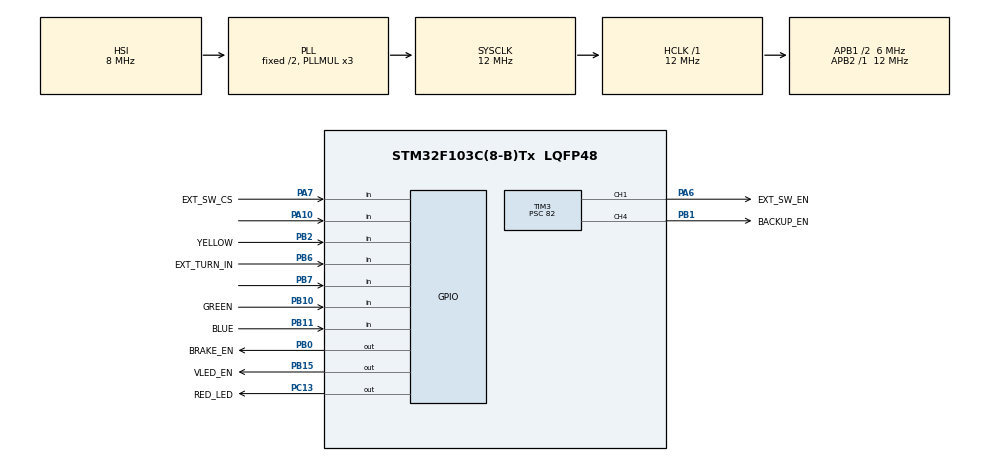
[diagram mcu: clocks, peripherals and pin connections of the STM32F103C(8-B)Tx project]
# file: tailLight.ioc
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Mcu.Family=STM32F1
Mcu.Name=STM32F103C(8-B)Tx
Mcu.Package=LQFP48
NVIC.PriorityGroup=NVIC_PRIORITYGROUP_4
PA10.Signal=GPIO_Input
PA13.Mode=Trace_Asynchronous_SW
PA13.Signal=SYS_JTMS-SWDIO
PA14.Mode=Trace_Asynchronous_SW
PA14.Signal=SYS_JTCK-SWCLK
PA6.GPIO_Label=EXT_SW_EN
PA6.Signal=S_TIM3_CH1
PA7.GPIO_Label=EXT_SW_CS
PA7.Signal=GPIO_Input
PB0.GPIO_Label=BRAKE_EN
PB0.Signal=GPIO_Output
PB1.GPIO_Label=BACKUP_EN
PB1.Signal=S_TIM3_CH4
PB10.GPIO_Label=GREEN
PB10.GPIO_PuPd=GPIO_PULLDOWN
PB10.Signal=GPIO_Input
PB11.GPIO_Label=BLUE
PB11.GPIO_PuPd=GPIO_PULLDOWN
PB11.Signal=GPIO_Input
PB15.GPIO_Label=VLED_EN
PB15.Signal=GPIO_Output
PB2.GPIO_Label=YELLOW
PB2.GPIO_PuPd=GPIO_PULLDOWN
PB2.Signal=GPIO_Input
PB3.Mode=Trace_Asynchronous_SW
PB3.Signal=SYS_JTDO-TRACESWO
PB6.GPIO_Label=EXT_TURN_IN
PB6.Signal=GPIO_Input
PB7.Signal=GPIO_Input
PC13-TAMPER-RTC.GPIO_Label=RED_LED
PC13-TAMPER-RTC.GPIO_ModeDefaultOutputPP=GPIO_MODE_OUTPUT_OD
PC13-TAMPER-RTC.GPIO_PuPd=GPIO_NOPULL
PC13-TAMPER-RTC.Signal=GPIO_Output
ProjectManager.HeapSize=0x200
ProjectManager.StackSize=0x400
ProjectManager.TargetToolchain=STM32CubeIDE
RCC.AHBFreq_Value=12000000
RCC.APB1CLKDivider=RCC_HCLK_DIV2
RCC.APB1Freq_Value=6000000
RCC.APB1TimFreq_Value=12000000
RCC.APB2Freq_Value=12000000
RCC.APB2TimFreq_Value=12000000
RCC.HCLKFreq_Value=12000000
RCC.HSE_VALUE=16000000
RCC.PLLMUL=RCC_PLL_MUL3
RCC.SYSCLKFreq_VALUE=12000000
RCC.SYSCLKSource=RCC_SYSCLKSOURCE_PLLCLK
RCC.USBFreq_Value=12000000
SH.S_TIM3_CH1.0=TIM3_CH1,PWM Generation1 CH1
SH.S_TIM3_CH4.0=TIM3_CH4,PWM Generation4 CH4
TIM3.Channel-PWM\ Generation1\ CH1=TIM_CHANNEL_1
TIM3.Channel-PWM\ Generation4\ CH4=TIM_CHANNEL_4
TIM3.OCFastMode_PWM-PWM\ Generation1\ CH1=TIM_OCFAST_DISABLE
TIM3.OCFastMode_PWM-PWM\ Generation4\ CH4=TIM_OCFAST_DISABLE
TIM3.Period=1000
TIM3.Prescaler=82
board=custom

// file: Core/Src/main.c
/* USER CODE BEGIN Header */
/**
  ******************************************************************************
  * @file           : main.c
  * @brief          : Main program body
  ******************************************************************************
  * @attention
  *
  * Copyright (c) 2024 STMicroelectronics.
  * All rights reserved.
  *
  * This software is licensed under terms that can be found in the LICENSE file
  * in the root directory of this software component.
  * If no LICENSE file comes with this software, it is provided AS-IS.
  *
  ******************************************************************************
  */
/* USER CODE END Header */
#include "main.h"

TIM_HandleTypeDef htim3;

/* USER CODE BEGIN PV */
#define BRAKE_BRIGHTNESS 5
#define BACKUP_BRIGHTNESS 5
#define TURN_BRIGHTNESS 5
/* USER CODE END PV */

void SystemClock_Config(void);
static void MX_GPIO_Init(void);
static void MX_TIM3_Init(void);
/* USER CODE BEGIN PFP */
void Start_PWM(void);
void checkLEDState(void);
/* USER CODE END PFP */

int main(void)
{

  /* MCU Configuration--------------------------------------------------------*/

  /* Reset of all peripherals, Initializes the Flash interface and the Systick. */
  HAL_Init();

  /* Configure the system clock */
  SystemClock_Config();

  /* Initialize all configured peripherals */
  MX_GPIO_Init();
  MX_TIM3_Init();
  /* USER CODE BEGIN 2 */
  HAL_Delay(10);
  HAL_GPIO_WritePin(VLED_EN_GPIO_Port, VLED_EN_Pin, SET); //toggle VLED enable PB15
  HAL_Delay(10);
  Start_PWM();

  /* USER CODE END 2 */

  /* Infinite loop */
  /* USER CODE BEGIN WHILE */
  while (1)
  {

	  HAL_Delay(50);
	  checkLEDState();

	  //HAL_GPIO_TogglePin(RED_LED_GPIO_Port, RED_LED_Pin); //on board red LED PC13
//	  HAL_GPIO_WritePin(RED_LED_GPIO_Port, RED_LED_Pin, RESET);
//	  HAL_GPIO_WritePin(VLED_EN_GPIO_Port, VLED_EN_Pin, RESET); //toggle Brake PB0
//	  HAL_GPIO_WritePin(BRAKE_EN_GPIO_Port, BRAKE_EN_Pin, RESET); //toggle Brake PB1
//	  HAL_Delay(100);
//	  HAL_GPIO_WritePin(RED_LED_GPIO_Port, RED_LED_Pin, SET); //on board red LED PC13
//	  HAL_GPIO_WritePin(BRAKE_EN_GPIO_Port, BRAKE_EN_Pin, SET); //toggle Brake PB0
//	  HAL_GPIO_WritePin(BACKUP_EN_GPIO_Port, BACKUP_EN_Pin, SET); //toggle Brake PB1
//	  HAL_Delay(100);
    /* USER CODE END WHILE */

  }
}

void SystemClock_Config(void)
{
  RCC_OscInitTypeDef RCC_OscInitStruct = {0};
  RCC_ClkInitTypeDef RCC_ClkInitStruct = {0};

  /** Initializes the RCC Oscillators according to the specified parameters
  * in the RCC_OscInitTypeDef structure.
  */
  RCC_OscInitStruct.OscillatorType = RCC_OSCILLATORTYPE_HSI;
  RCC_OscInitStruct.HSIState = RCC_HSI_ON;
  RCC_OscInitStruct.HSICalibrationValue = RCC_HSICALIBRATION_DEFAULT;
  RCC_OscInitStruct.PLL.PLLState = RCC_PLL_ON;
  RCC_OscInitStruct.PLL.PLLSource = RCC_PLLSOURCE_HSI_DIV2;
  RCC_OscInitStruct.PLL.PLLMUL = RCC_PLL_MUL3;
  if (HAL_RCC_OscConfig(&RCC_OscInitStruct) != HAL_OK)
  {
    Error_Handler();
  }

  /** Initializes the CPU, AHB and APB buses clocks
  */
  RCC_ClkInitStruct.ClockType = RCC_CLOCKTYPE_HCLK|RCC_CLOCKTYPE_SYSCLK
                              |RCC_CLOCKTYPE_PCLK1|RCC_CLOCKTYPE_PCLK2;
  RCC_ClkInitStruct.SYSCLKSource = RCC_SYSCLKSOURCE_PLLCLK;
  RCC_ClkInitStruct.AHBCLKDivider = RCC_SYSCLK_DIV1;
  RCC_ClkInitStruct.APB1CLKDivider = RCC_HCLK_DIV2;
  RCC_ClkInitStruct.APB2CLKDivider = RCC_HCLK_DIV1;

  if (HAL_RCC_ClockConfig(&RCC_ClkInitStruct, FLASH_LATENCY_0) != HAL_OK)
  {
    Error_Handler();
  }
}

static void MX_TIM3_Init(void)
{

  TIM_MasterConfigTypeDef sMasterConfig = {0};
  TIM_OC_InitTypeDef sConfigOC = {0};

  htim3.Instance = TIM3;
  htim3.Init.Prescaler = 82;
  htim3.Init.CounterMode = TIM_COUNTERMODE_UP;
  htim3.Init.Period = 1000;
  htim3.Init.ClockDivision = TIM_CLOCKDIVISION_DIV1;
  htim3.Init.AutoReloadPreload = TIM_AUTORELOAD_PRELOAD_DISABLE;
  if (HAL_TIM_PWM_Init(&htim3) != HAL_OK)
  {
    Error_Handler();
  }
  sMasterConfig.MasterOutputTrigger = TIM_TRGO_RESET;
  sMasterConfig.MasterSlaveMode = TIM_MASTERSLAVEMODE_DISABLE;
  if (HAL_TIMEx_MasterConfigSynchronization(&htim3, &sMasterConfig) != HAL_OK)
  {
    Error_Handler();
  }
  sConfigOC.OCMode = TIM_OCMODE_PWM1;
  sConfigOC.Pulse = 0;
  sConfigOC.OCPolarity = TIM_OCPOLARITY_HIGH;
  sConfigOC.OCFastMode = TIM_OCFAST_DISABLE;
  if (HAL_TIM_PWM_ConfigChannel(&htim3, &sConfigOC, TIM_CHANNEL_1) != HAL_OK)
  {
    Error_Handler();
  }
  if (HAL_TIM_PWM_ConfigChannel(&htim3, &sConfigOC, TIM_CHANNEL_4) != HAL_OK)
  {
    Error_Handler();
  }
  HAL_TIM_MspPostInit(&htim3);

}

static void MX_GPIO_Init(void)
{
  GPIO_InitTypeDef GPIO_InitStruct = {0};

  /* GPIO Ports Clock Enable */
  __HAL_RCC_GPIOC_CLK_ENABLE();
  __HAL_RCC_GPIOA_CLK_ENABLE();
  __HAL_RCC_GPIOB_CLK_ENABLE();

  /*Configure GPIO pin Output Level */
  HAL_GPIO_WritePin(RED_LED_GPIO_Port, RED_LED_Pin, GPIO_PIN_RESET);

  /*Configure GPIO pin Output Level */
  HAL_GPIO_WritePin(GPIOB, BRAKE_EN_Pin|VLED_EN_Pin, GPIO_PIN_RESET);

  /*Configure GPIO pin : RED_LED_Pin */
  GPIO_InitStruct.Pin = RED_LED_Pin;
  GPIO_InitStruct.Mode = GPIO_MODE_OUTPUT_OD;
  GPIO_InitStruct.Pull = GPIO_NOPULL;
  GPIO_InitStruct.Speed = GPIO_SPEED_FREQ_LOW;
  HAL_GPIO_Init(RED_LED_GPIO_Port, &GPIO_InitStruct);

  /*Configure GPIO pins : EXT_SW_CS_Pin PA10 */
  GPIO_InitStruct.Pin = EXT_SW_CS_Pin|GPIO_PIN_10;
  GPIO_InitStruct.Mode = GPIO_MODE_INPUT;
  GPIO_InitStruct.Pull = GPIO_NOPULL;
  HAL_GPIO_Init(GPIOA, &GPIO_InitStruct);

  /*Configure GPIO pins : BRAKE_EN_Pin VLED_EN_Pin */
  GPIO_InitStruct.Pin = BRAKE_EN_Pin|VLED_EN_Pin;
  GPIO_InitStruct.Mode = GPIO_MODE_OUTPUT_PP;
  GPIO_InitStruct.Pull = GPIO_NOPULL;
  GPIO_InitStruct.Speed = GPIO_SPEED_FREQ_LOW;
  HAL_GPIO_Init(GPIOB, &GPIO_InitStruct);

  /*Configure GPIO pins : YELLOW_Pin GREEN_Pin BLUE_Pin */
  GPIO_InitStruct.Pin = YELLOW_Pin|GREEN_Pin|BLUE_Pin;
  GPIO_InitStruct.Mode = GPIO_MODE_INPUT;
  GPIO_InitStruct.Pull = GPIO_PULLDOWN;
  HAL_GPIO_Init(GPIOB, &GPIO_InitStruct);

  /*Configure GPIO pins : EXT_TURN_IN_Pin PB7 */
  GPIO_InitStruct.Pin = EXT_TURN_IN_Pin|GPIO_PIN_7;
  GPIO_InitStruct.Mode = GPIO_MODE_INPUT;
  GPIO_InitStruct.Pull = GPIO_NOPULL;
  HAL_GPIO_Init(GPIOB, &GPIO_InitStruct);

}

/* USER CODE BEGIN 4 */
void checkLEDState(void){
	if(HAL_GPIO_ReadPin(BLUE_GPIO_Port, BLUE_Pin)){ //if brake (BLUE) line is activated:
		//__HAL_TIM_SET_COMPARE(&htim3, TIM_CHANNEL_3, BRAKE_BRIGHTNESS);
		HAL_GPIO_WritePin(BRAKE_EN_GPIO_Port, BRAKE_EN_Pin, SET);
	}
	else{
		HAL_GPIO_WritePin(BRAKE_EN_GPIO_Port, BRAKE_EN_Pin, RESET);
		//__HAL_TIM_SET_COMPARE(&htim3, TIM_CHANNEL_3, 0);
	}

	if(HAL_GPIO_ReadPin(GREEN_GPIO_Port, GREEN_Pin)){ //if backup (GREEN) line is activated:
		__HAL_TIM_SET_COMPARE(&htim3, TIM_CHANNEL_4, BACKUP_BRIGHTNESS);
	}
	else{
		__HAL_TIM_SET_COMPARE(&htim3, TIM_CHANNEL_4, 0);
	}

	if(HAL_GPIO_ReadPin(YELLOW_GPIO_Port, YELLOW_Pin)){ //if turn (YELLOW) line is activated:
		__HAL_TIM_SET_COMPARE(&htim3, TIM_CHANNEL_1, TURN_BRIGHTNESS);
	}
	else{
		__HAL_TIM_SET_COMPARE(&htim3, TIM_CHANNEL_1, 0);
	}
}

void Start_PWM(void)
{
    HAL_TIM_PWM_Start(&htim3, TIM_CHANNEL_1);  // Start PWM for EXT_SW_EN
    //HAL_TIM_PWM_Start(&htim3, TIM_CHANNEL_3);  // Start PWM for BRAKE_EN
    HAL_TIM_PWM_Start(&htim3, TIM_CHANNEL_4);  // Start PWM for BACKUP_EN
}
/* USER CODE END 4 */

void Error_Handler(void)
{
  __disable_irq();
  while (1)
  {
  }
}
